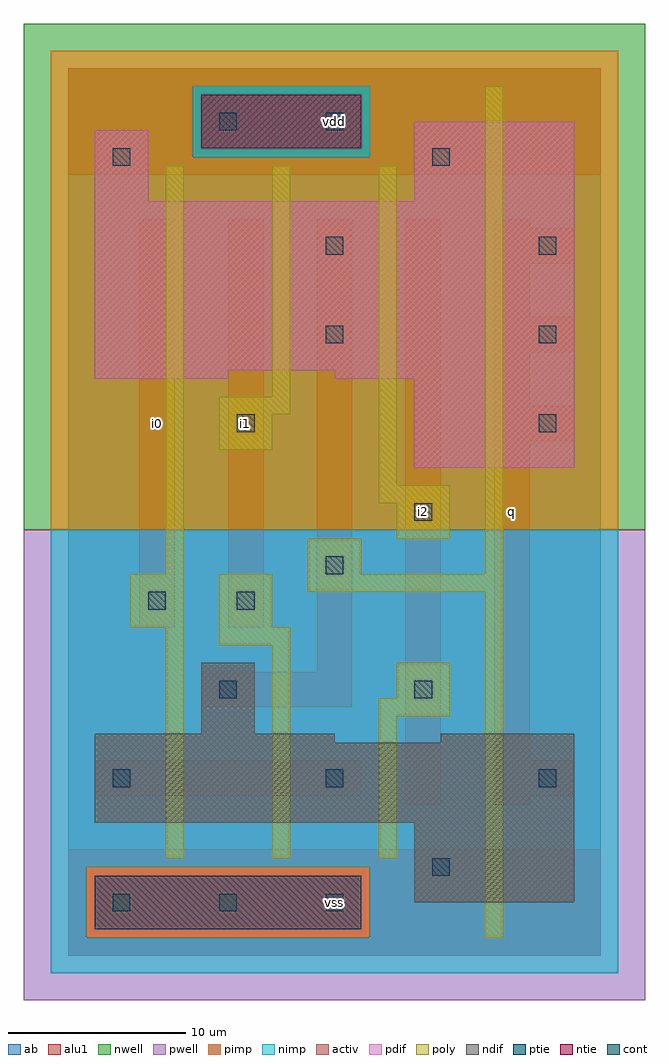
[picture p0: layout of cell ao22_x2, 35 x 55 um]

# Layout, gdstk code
import gdstk
lib = gdstk.Library(unit=1e-6, precision=1e-09)
def R(c, l, rs):  # rectangles x0, y0, x1, y1
    for r in rs: c.add(gdstk.rectangle(r[:2], r[2:], *l))
def A(c, l, x, y, w, h, nx, ny, dx, dy):  # array of equal rectangles
    R(c, l, [(x+i*dx, y+j*dy, x+i*dx+w, y+j*dy+h) for i in range(nx) for j in range(ny)])
ndif = (3, 0)
pdif = (4, 0)
ntie = (5, 0)
ptie = (6, 0)
cont = (25, 0)
pwell = (41, 0)
nwell = (42, 0)
activ = (43, 0)
pimp = (44, 0)
nimp = (45, 0)
poly = (46, 0)
alu1 = (49, 0)
ab = (63, 0)

ao22_x2 = lib.new_cell('ao22_x2')
R(ao22_x2, ndif, [(19.5,3,28.5,7.5), (1.5,7.5,28.5,12), (1.5,12,15,12.5), (21,12,28.5,12.5), (7.5,12.5,10.5,16.5)])
R(ao22_x2, pdif, [(19.5,27.5,28.5,32.5), (1.5,32.5,9,33), (15,32.5,28.5,33), (1.5,33,28.5,42.5), (1.5,42.5,4.5,46.5), (19.5,42.5,28.5,47)])
R(ao22_x2, ntie, [(7.5,45.5,16.5,48.5)])
R(ao22_x2, ptie, [(1.5,1.5,16.5,4.5)])
A(ao22_x2, cont, 2.5, 2.5, 1, 1, 3, 1, 6, 0)
A(ao22_x2, cont, 2.5, 9.5, 1, 1, 3, 1, 12, 0)
A(ao22_x2, cont, 26.5, 29.5, 1, 1, 1, 3, 0, 5)
R(ao22_x2, cont, [(20.5,4.5,21.5,5.5), (8.5,14.5,9.5,15.5), (19.5,14.5,20.5,15.5), (4.5,19.5,5.5,20.5), (9.5,19.5,10.5,20.5), (14.5,21.5,15.5,22.5), (19.5,24.5,20.5,25.5), (9.5,29.5,10.5,30.5), (14.5,34.5,15.5,35.5), (14.5,39.5,15.5,40.5), (2.5,44.5,3.5,45.5), (20.5,44.5,21.5,45.5), (8.5,46.5,9.5,47.5), (14.5,46.5,15.5,47.5)])
R(ao22_x2, pwell, [(-2.5,-2.5,32.5,24)])
R(ao22_x2, nwell, [(-2.5,24,32.5,52.5)])
R(ao22_x2, activ, [(1.5,1.5,16.5,4.5), (19.5,3,28.5,7.5), (1.5,7.5,28.5,12), (1.5,12,15,12.5), (21,12,28.5,12.5), (7.5,12.5,10.5,16.5), (19.5,27.5,28.5,32.5), (1.5,32.5,9,33), (15,32.5,28.5,33), (1.5,33,28.5,42.5), (1.5,42.5,4.5,46.5), (19.5,42.5,28.5,47), (7.5,45.5,16.5,48.5)])
R(ao22_x2, pimp, [(1,1,17,5), (-1,24,31,45), (-1,45,7,49), (17,45,31,49), (-1,49,31,51)])
R(ao22_x2, nimp, [(-1,-1,31,1), (-1,1,1,5), (17,1,31,5), (-1,5,31,24), (7,45,17,49)])
R(ao22_x2, poly, [(23.5,1,24.5,20.5), (5.5,5.5,6.5,18.5), (11.5,5.5,12.5,17.5), (17.5,5.5,18.5,13.5), (17.5,13.5,21.5,14.5), (18.5,14.5,21.5,16.5), (8.5,17.5,12.5,18.5), (3.5,18.5,6.5,21.5), (8.5,18.5,11.5,21.5), (13.5,20.5,24.5,21.5), (5.5,21.5,6.5,44.5), (13.5,21.5,16.5,23.5), (23.5,21.5,24.5,49), (18.5,23.5,21.5,25.5), (17.5,25.5,21.5,26.5), (17.5,26.5,18.5,44.5), (8.5,28.5,11.5,30.5), (8.5,30.5,12.5,31.5), (11.5,31.5,12.5,44.5)])
R(ao22_x2, alu1, [(0,0,30,6), (0,0,30,6), (19,8.5,21,41.5), (19,8.5,21,41.5), (24,8.5,26,9), (24,8.5,26,9), (1.5,9,16.5,11), (1.5,9,16.5,11), (24,9,28.5,11), (24,9,28.5,11), (24,11,26,29), (24,11,26,29), (7.5,14,16,16), (7.5,14,16,16), (14,16,16,41.5), (14,16,16,41.5), (4,18.5,6,41.5), (4,18.5,6,41.5), (9,18.5,11,41.5), (9,18.5,11,41.5), (24,29,28.5,31), (24,29,28.5,31), (24,31,26,34), (24,31,26,34), (24,34,28.5,36), (24,34,28.5,36), (24,36,26,39), (24,36,26,39), (24,39,28.5,41), (24,39,28.5,41), (24,41,26,41.5), (24,41,26,41.5), (0,44,30,50), (0,44,30,50)])
R(ao22_x2, ab, [(0,0,30,50)])
ao22_x2.add(gdstk.Label('i0', (5,30), layer=49, texttype=0))
ao22_x2.add(gdstk.Label('i1', (10,30), layer=49, texttype=0))
ao22_x2.add(gdstk.Label('vss', (15,3), layer=49, texttype=0))
ao22_x2.add(gdstk.Label('i2', (20,25), layer=49, texttype=0))
ao22_x2.add(gdstk.Label('vdd', (15,47), layer=49, texttype=0))
ao22_x2.add(gdstk.Label('q', (25,25), layer=49, texttype=0))

lib.write_gds('ao22_x2.gds')
